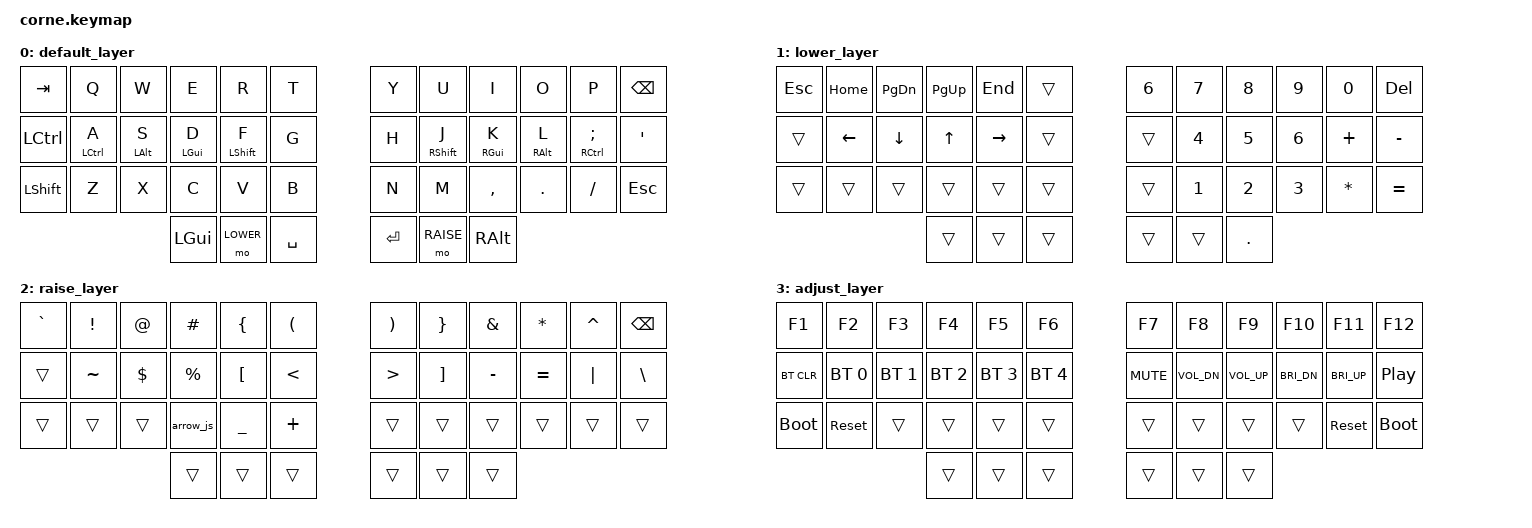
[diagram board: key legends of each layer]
/*
 * Corne Keymap - ZMK
 * Configuracao: Symmetrical Dev v4
 *
 * Features:
 * - Home Row Mods (segure para Ctrl/Alt/Cmd/Shift)
 * - Simbolos simetricos (esquerda abre, direita fecha)
 * - F-Keys e midia na layer ADJUST
 * - Combo para Print Screen (Z+X) e gravacao (X+C)
 * - Thumbs: Space (esquerda), Enter (direita)
 * - Navegacao na LOWER: Home/End/Page Up/Page Down
 */

#include <behaviors.dtsi>
#include <dt-bindings/zmk/keys.h>
#include <dt-bindings/zmk/bt.h>

/* Definicoes de layers */
#define DEFAULT 0
#define LOWER   1
#define RAISE   2
#define ADJ     3

/ {
    /* --- 1. COMPORTAMENTOS (Behaviors) --- */
    behaviors {
        hm: homerow_mods {
            compatible = "zmk,behavior-hold-tap";
            label = "HOMEROW_MODS";
            #binding-cells = <2>;
            tapping-term-ms = <200>;
            quick-tap-ms = <0>;
            flavor = "tap-preferred";
            bindings = <&kp>, <&kp>;
        };
    };

    /* --- 2. MACROS --- */
    macros {
        print_region: print_region {
            compatible = "zmk,behavior-macro";
            #binding-cells = <0>;

            bindings
                = <&macro_press &kp LGUI &kp LSHFT>
                , <&macro_tap &kp N4>
                , <&macro_release &kp LGUI &kp LSHFT>;
        };

        video_record: video_record {
            compatible = "zmk,behavior-macro";
            #binding-cells = <0>;

            bindings
                = <&macro_press &kp LGUI &kp LSHFT>
                , <&macro_tap &kp N5>
                , <&macro_release &kp LGUI &kp LSHFT>;
        };

        arrow_js: arrow_js {
            compatible = "zmk,behavior-macro";
            #binding-cells = <0>;
            bindings = <&macro_tap &kp EQUAL &kp GT>;
        };
    };

    /* --- 3. COMBOS --- */
    combos {
        compatible = "zmk,combos";

        combo_print {
            timeout-ms = <50>;
            key-positions = <25 26>;
            bindings = <&print_region>;
        };

        combo_video {
            timeout-ms = <50>;
            key-positions = <26 27>;
            bindings = <&video_record>;
        };

        combo_esc {
            timeout-ms = <50>;
            key-positions = <19 20>;
            bindings = <&kp ESC>;
        };
    };

    /* --- 4. CONDITIONAL LAYERS --- */
    conditional_layers {
        compatible = "zmk,conditional-layers";

        tri_layer {
            if-layers = <LOWER RAISE>;
            then-layer = <ADJ>;
        };
    };

    /* --- 5. KEYMAP --- */
    keymap {
        compatible = "zmk,keymap";

        /*
         * LAYER 0: DEFAULT
         * Thumbs: Space (esquerda) / Enter (direita)
         */
        default_layer {
            bindings = <
&kp TAB    &kp Q        &kp W        &kp E        &kp R        &kp T          &kp Y        &kp U        &kp I        &kp O        &kp P           &kp BSPC
&kp LCTRL  &hm LCTRL A  &hm LALT S   &hm LGUI D   &hm LSHFT F  &kp G          &kp H        &hm RSHFT J  &hm RGUI K   &hm RALT L   &hm RCTRL SEMI  &kp SQT
&kp LSHFT  &kp Z        &kp X        &kp C        &kp V        &kp B          &kp N        &kp M        &kp COMMA    &kp DOT      &kp FSLH        &kp ESC
&kp LGUI   &mo LOWER    &kp SPACE    &kp RET      &mo RAISE    &kp RALT
            >;
        };

        /*
         * LAYER 1: LOWER
         *
         * Navegacao:
         * Q = Home | W = Page Down | E = Page Up | R = End
         * A = Left | S = Down | D = Up | F = Right
         */
        lower_layer {
            bindings = <
&kp ESC    &kp HOME    &kp PG_DN    &kp PG_UP    &kp END      &trans        &kp N6      &kp N7      &kp N8      &kp N9      &kp N0         &kp DEL
&trans     &kp LEFT    &kp DOWN     &kp UP       &kp RIGHT    &trans        &trans      &kp N4      &kp N5      &kp N6      &kp PLUS       &kp MINUS
&trans     &trans      &trans       &trans       &trans       &trans        &trans      &kp N1      &kp N2      &kp N3      &kp ASTRK      &kp EQUAL
&trans     &trans      &trans       &trans       &trans       &kp DOT
            >;
        };

        /*
         * LAYER 2: RAISE
         * Simbolos
         */
        raise_layer {
            bindings = <
&kp GRAVE  &kp EXCL    &kp AT      &kp HASH    &kp LBRC    &kp LPAR      &kp RPAR    &kp RBRC    &kp AMPS    &kp ASTRK   &kp CARET      &kp BSPC
&trans     &kp TILDE   &kp DLLR    &kp PRCNT   &kp LBKT    &kp LT        &kp GT      &kp RBKT    &kp MINUS   &kp EQUAL   &kp PIPE       &kp BSLH
&trans     &trans      &trans      &arrow_js   &kp UNDER   &kp PLUS      &trans      &trans      &trans      &trans      &trans         &trans
&trans     &trans      &trans      &trans      &trans      &trans
            >;
        };

        /*
         * LAYER 3: ADJUST
         * F-Keys + Media + System
         * Acessada por LOWER + RAISE
         */
        adjust_layer {
            bindings = <
&kp F1        &kp F2         &kp F3         &kp F4         &kp F5         &kp F6         &kp F7       &kp F8        &kp F9        &kp F10       &kp F11        &kp F12
&bt BT_CLR    &bt BT_SEL 0   &bt BT_SEL 1   &bt BT_SEL 2   &bt BT_SEL 3   &bt BT_SEL 4   &kp C_MUTE   &kp C_VOL_DN  &kp C_VOL_UP  &kp C_BRI_DN  &kp C_BRI_UP   &kp C_PP
&bootloader   &sys_reset     &trans         &trans         &trans         &trans         &trans       &trans        &trans        &trans        &sys_reset     &bootloader
&trans        &trans         &trans         &trans         &trans         &trans
            >;
        };

    };
};
